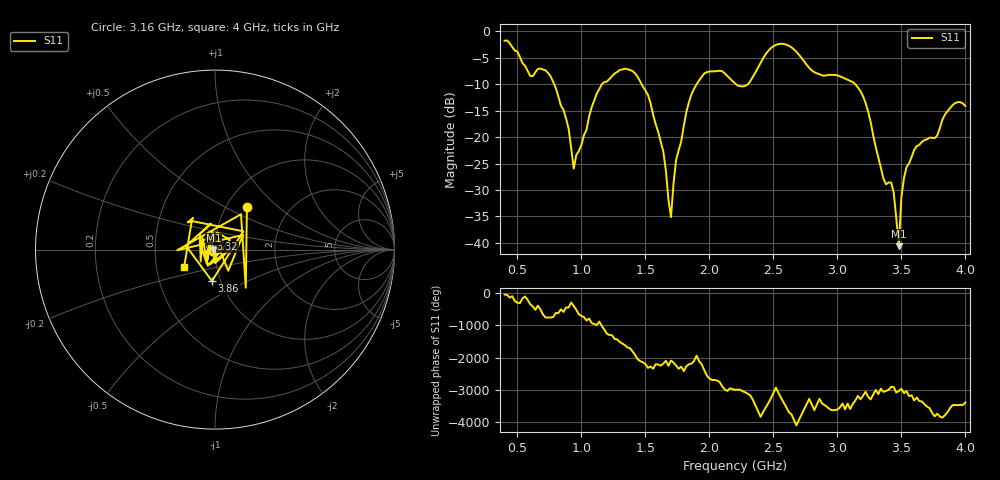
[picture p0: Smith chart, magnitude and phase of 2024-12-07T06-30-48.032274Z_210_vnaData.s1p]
!Created with skrf (http://scikit-rf.org).
# Hz S RI R 50.0
!freq ReS11 ImS11
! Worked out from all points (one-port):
!   181 points, 400 MHz to 4 GHz, reference 50 ohm
!   lowest |S11| = -40.6 dB at 3.48 GHz (marker M1), VSWR 1.02, Z = 49.1 - j0.337 ohm
!   |S11| at or under -10 dB: 787.2 MHz to 1.159 GHz (371.9 MHz wide, 38.2 % of centre); 1.471 GHz to 1.9 GHz (429.4 MHz wide, 25.5 % of centre); 3.14 GHz to end of sweep (the widest 3 of 4)
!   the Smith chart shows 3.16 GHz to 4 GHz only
!   S11 on the Smith chart (normalised r, x): 3.16 GHz: 1.25, +0.64; 3.32 GHz: 0.95, +0.12; 3.86 GHz: 0.91, -0.33; 4 GHz: 0.70, -0.14
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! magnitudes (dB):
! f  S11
! 400 MHz  -1.8
! 600 MHz  -8.4
! 740 MHz  -7.9
! 860 MHz  -14.9
! 940 MHz  -26.0
! 1.12 GHz  -11.8
! 1.3 GHz  -7.3
! 1.52 GHz  -12.0
! 1.64 GHz  -22.7
! 1.7 GHz  -35.1
! 1.74 GHz  -24.3
! 1.76 GHz  -22.5
! 1.86 GHz  -11.9
! 1.96 GHz  -8.0
! 2.2 GHz  -9.8
! 2.3 GHz  -10.0
! 2.5 GHz  -2.8
! 2.66 GHz  -3.4
! 2.82 GHz  -7.7
! 3.1 GHz  -9.4
! 3.16 GHz  -10.6
! 3.32 GHz  -23.8
! 3.44 GHz  -30.5
! 3.48 GHz  -40.6
! 3.5 GHz  -31.4
! 3.56 GHz  -25.0
! 3.86 GHz  -15.1
! 4 GHz  -14.1
